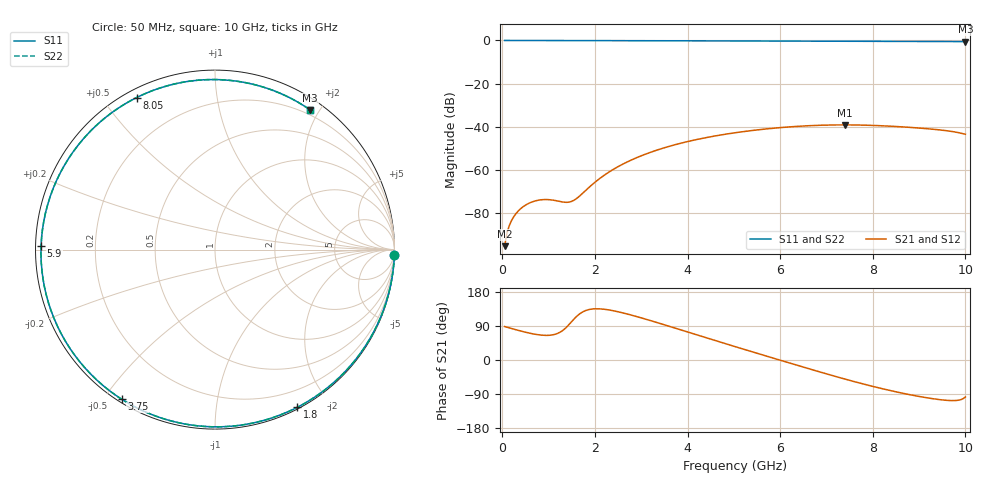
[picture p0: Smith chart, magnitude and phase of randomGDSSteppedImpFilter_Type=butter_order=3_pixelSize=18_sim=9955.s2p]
! freq	dB(S11)	phase(S11)	dB(S12)	phase(S12)
!  dB(S21)	phase(S21)	dB(S22)	phase(S22)
!S-par simulation data
#  GHz  S  DB  R 50
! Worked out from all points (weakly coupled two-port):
!   200 points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, 50 MHz to 10 GHz, reference 50 ohm
!   highest |S21| = -39.14 dB at 7.4 GHz (marker M1); lowest = -95.4 dB at 50 MHz (marker M2)
!   lowest |S11| = -0.5 dB at 10 GHz (marker M3), VSWR 33.28, Z = 6.86 + j94.3 ohm
!   |S11| at or under -10 dB: nowhere
!   |S22| runs from -0.5 to 0.0 dB; largest |S21 - S12| = 0
!   S11 on the Smith chart (normalised r, x): 50 MHz: 0, -63; 1.8 GHz: 0.02, -1.65; 3.75 GHz: 0.01, -0.55; 5.9 GHz: 0.02, +0.01; 8.05 GHz: 0.03, +0.61; 10 GHz: 0.14, +1.89
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0.05  -0.00 -1.8  -95.36 88.3  -95.36 88.3  -0.00 -1.8
0.3  -0.02 -10.7  -80.14 79.7  -80.14 79.7  -0.02 -10.7
0.55  -0.03 -19.6  -75.74 71.9  -75.74 71.9  -0.03 -19.6
0.8  -0.04 -28.4  -73.98 66.3  -73.98 66.3  -0.04 -28.4
1.45  -0.06 -50.8  -74.90 94.7  -74.90 94.7  -0.06 -50.8
1.6  -0.07 -55.8  -73.33 114.5  -73.33 114.5  -0.07 -55.8
1.75  -0.08 -60.8  -70.54 127.8  -70.54 127.8  -0.08 -60.8
1.8  -0.08 -62.4  -69.54 130.5  -69.54 130.5  -0.08 -62.4
2.15  -0.09 -73.8  -63.25 134.6  -63.25 134.6  -0.09 -73.8
2.5  -0.10 -84.8  -58.50 127.3  -58.50 127.3  -0.10 -84.8
2.9  -0.12 -97.1  -54.35 114.7  -54.35 114.7  -0.12 -97.1
3.4  -0.14 -111.9  -50.40 96.6  -50.40 96.6  -0.14 -111.9
3.75  -0.15 -122.0  -48.21 83.5  -48.21 83.5  -0.15 -122.0
4.4  -0.18 -140.2  -45.04 58.8  -45.04 58.8  -0.18 -140.2
5.05  -0.22 -158.0  -42.71 34.4  -42.71 34.4  -0.22 -158.1
5.9  -0.27 178.8  -40.59 3.1  -40.59 3.1  -0.27 178.8
6.7  -0.33 156.6  -39.44 -25.9  -39.44 -25.9  -0.33 156.6
7.4  -0.38 136.6  -39.14 -50.4  -39.14 -50.4  -0.38 136.6
8.05  -0.42 117.2  -39.42 -71.2  -39.42 -71.2  -0.42 117.2
8.35  -0.44 108.1  -39.70 -79.9  -39.70 -79.9  -0.44 108.1
9.15  -0.48 83.0  -40.86 -99.4  -40.86 -99.4  -0.48 82.9
10  -0.52 55.7  -43.48 -97.6  -43.48 -97.6  -0.52 55.7
